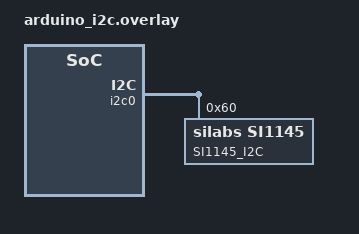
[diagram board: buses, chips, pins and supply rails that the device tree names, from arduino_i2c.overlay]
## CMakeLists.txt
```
# SPDX-License-Identifier: Apache-2.0

cmake_minimum_required(VERSION 3.20.0)
find_package(Zephyr REQUIRED HINTS $ENV{ZEPHYR_BASE})
project(si1145)

FILE(GLOB app_sources src/*.c)
target_sources(app PRIVATE ${app_sources})
```

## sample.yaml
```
sample:
  name: SI1145 Sensor sample
tests:
  sample.sensor.si1145:
    harness: console
    tags: sensors
    platform_allow: adafruit_feather_m0_basic_proto
    integration_platforms:
      - adafruit_feather_m0_basic_proto
    harness_config:
        type: one_line
        regex:
            - "temp: (.*); press: (.*); humidity: (.*)"
        fixture: fixture_i2c_si1145
  sample.sensor.si1145.spi:
    harness: console
    tags: sensors
    depends_on: spi si1145
    extra_args: "DTC_OVERLAY_FILE=arduino_spi.overlay"
    harness_config:
        type: one_line
        regex:
            - "temp: (.*); press: (.*); humidity: (.*)"
        fixture: fixture_spi_si1145
```

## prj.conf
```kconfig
CONFIG_SENSOR=y
CONFIG_SI1145=y
```

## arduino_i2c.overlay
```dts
/*
 * Copyright (c) 2020, Nordic Semiconductor ASA
 *
 * SPDX-License-Identifier: Apache-2.0
 */

/*
 * Example configuration of a SI1145 device on an Arduino I2C bus.
 *
 * Device address 0x77 is assumed. Your device may have a different
 * address; check your device documentation if unsure.
 */
&i2c0 {
	status = "okay";
	si1145@60 {
		compatible = "silabs,si1145";
		reg = <0x60>;
		label = "SI1145_I2C";
	};
};
```

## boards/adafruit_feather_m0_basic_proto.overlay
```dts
/*
 * Copyright (c) 2020 Jacek Ozimek <jacek.ozmk@gmail.com>
 *
 * SPDX-License-Identifier: Apache-2.0
 */

&feather_i2c {
	si1145: si1145@76 {
		/* 0x76 - SDO <-> GND */
		/* 0x77 - SDO <-> VCC */
		compatible = "silabs,si1145";
		reg = <0x76>;
		label = "ENVIRONMENTAL_SENSOR";
	};
};
```

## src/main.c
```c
/*
 * Copyright (c) 2012-2014 Wind River Systems, Inc.
 * Copyright (c) 2021 Nordic Semiconductor ASA
 *
 * SPDX-License-Identifier: Apache-2.0
 */

#include <zephyr.h>
#include <device.h>
#include <devicetree.h>
#include <drivers/sensor.h>

/*
 * Get a device structure from a devicetree node with compatible
 * "silabs,si1145". (If there are multiple, just pick one.)
 */
static const struct device *get_si1145_device(void)
{
	const struct device *dev = DEVICE_DT_GET_ANY(silabs_si1145);

	if (dev == NULL) {
		/* No such node, or the node does not have status "okay". */
		printk("\nError: no device found.\n");
		return NULL;
	}

	if (!device_is_ready(dev)) {
		printk("\nError: Device \"%s\" is not ready; "
		       "check the driver initialization logs for errors.\n",
		       dev->name);
		return NULL;
	}

	printk("Found device \"%s\", getting sensor data\n", dev->name);
	return dev;
}

void main(void)
{
	const struct device *dev = get_si1145_device();
	//const struct device *dev = DEVICE_DT_GET(DT_ALIAS(i2c0));

	if (dev == NULL) {
		return;
	}

	while (1) {
		struct sensor_value temp, press, humidity;

		sensor_sample_fetch(dev);
		sensor_channel_get(dev, SENSOR_CHAN_AMBIENT_TEMP, &temp);
		sensor_channel_get(dev, SENSOR_CHAN_PRESS, &press);
		sensor_channel_get(dev, SENSOR_CHAN_HUMIDITY, &humidity);

		printk("restart\n");
		printk("temp: %d.%06d; press: %d.%06d; humidity: %d.%06d\n",
		      temp.val1, temp.val2, press.val1, press.val2,
		      humidity.val1, humidity.val2);

		k_sleep(K_MSEC(1000));
	}
}
```
